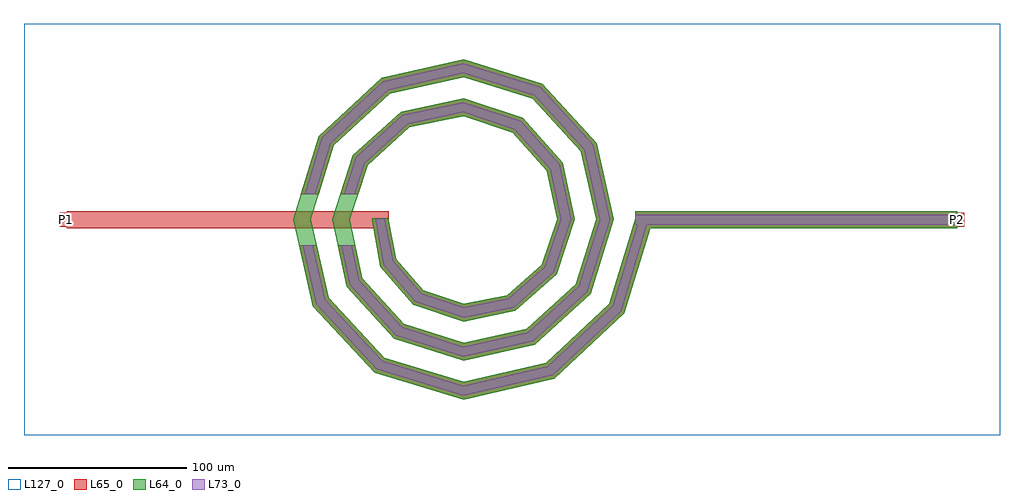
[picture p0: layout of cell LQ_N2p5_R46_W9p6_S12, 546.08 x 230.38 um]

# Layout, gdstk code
import gdstk
lib = gdstk.Library(unit=1e-6, precision=1e-09)
def R(c, l, rs):  # rectangles x0, y0, x1, y1
    for r in rs: c.add(gdstk.rectangle(r[:2], r[2:], *l))
def P(c, l, *ps):  # polygons
    for p in ps: c.add(gdstk.Polygon(p, *l))
L64_0 = (64, 0)
L65_0 = (65, 0)
L73_0 = (73, 0)
L127_0 = (127, 0)

lq_n2p5_r46_w9p6_s12 = lib.new_cell('LQ_N2p5_R46_W9p6_S12')
R(lq_n2p5_r46_w9p6_s12, L64_0, [(96.35,-4.8,276.35,4.8)])
P(lq_n2p5_r46_w9p6_s12, L64_0, [(-37.403,-21.997),(-22.315,-39.322),(0.324,-47.031),(24.697,-42.15),(44.034,-25.073),(52.492,0.293),(46.893,27.402),(27.827,48.75),(0.268,57.952),(-30.112,51.634),(-53.468,30.577),(-63.414,0.247),(-56.374,-32.825),(-33.324,-58.188),(0.228,-68.875),(35.541,-61.112),(62.909,-36.069),(74.336,0.213),(65.85,38.259),(38.813,67.632),(0.199,79.798),(-40.978,70.586),(-72.356,41.554),(-85.26,0.187),(-75.322,-43.699),(-44.295,-77.08),(0.176,-90.722),(46.421,-80.057),(81.805,-47.034),(96.559,1.399),(105.742,-1.399),(90.238,-52.295),(51.088,-88.833),(0.176,-100.655),(-49.573,-85.503),(-84.108,-48.348),(-95.192,0.187),(-80.767,46.851),(-45.607,79.383),(0.199,89.73),(44.131,76.03),(74.659,42.864),(84.267,0.213),(71.292,-41.412),(40.12,-69.935),(0.228,-78.805),(-38.695,-66.553),(-65.213,-37.373),(-73.342,0.247),(-61.812,35.98),(-34.624,60.492),(0.268,67.879),(33.268,57.069),(55.773,31.872),(62.415,0.293),(52.324,-30.559),(29.115,-51.055),(0.324,-56.951),(-27.856,-47.576),(-46.341,-26.352),(-51.242,0.908),(-41.816,0.908)])
R(lq_n2p5_r46_w9p6_s12, L65_0, [(-221.729,-4.8,-41.729,4.8), (96.35,-4.8,276.35,4.8), (-225.729,-4,-217.729,4), (272.35,-4,280.35,4)])
P(lq_n2p5_r46_w9p6_s12, L65_0, [(-75.322,-43.699),(-44.295,-77.08),(0.176,-90.722),(46.421,-80.057),(81.806,-47.034),(96.559,1.399),(105.742,-1.399),(90.238,-52.295),(51.088,-88.833),(0.176,-100.655),(-49.573,-85.503),(-84.108,-48.348),(-91.861,-14.4),(-82.014,-14.4)],
  [(-56.374,-32.825),(-33.324,-58.188),(0.229,-68.875),(35.541,-61.113),(62.91,-36.069),(74.336,0.213),(65.85,38.259),(38.813,67.632),(0.199,79.798),(-40.978,70.586),(-72.356,41.554),(-80.75,14.4),(-90.799,14.4),(-80.767,46.851),(-45.607,79.383),(0.199,89.73),(44.131,76.03),(74.659,42.864),(84.267,0.213),(71.292,-41.412),(40.12,-69.935),(0.229,-78.805),(-38.695,-66.553),(-65.213,-37.373),(-70.177,-14.4),(-60.355,-14.4)],
  [(-22.315,-39.322),(0.324,-47.031),(24.697,-42.15),(44.034,-25.073),(52.492,0.294),(46.893,27.402),(27.827,48.75),(0.268,57.952),(-30.112,51.634),(-53.468,30.577),(-58.688,14.4),(-68.775,14.4),(-61.812,35.98),(-34.624,60.492),(0.268,67.879),(33.268,57.07),(55.773,31.872),(62.415,0.294),(52.325,-30.56),(29.115,-51.055),(0.324,-56.952),(-27.856,-47.576),(-46.341,-26.353),(-51.243,0.908),(-41.816,0.908),(-37.403,-21.997)])
R(lq_n2p5_r46_w9p6_s12, L73_0, [(96.35,-2.8,276.35,2.8)])
P(lq_n2p5_r46_w9p6_s12, L73_0, [(-77.152,-44.668),(-45.394,-78.835),(0.103,-92.791),(47.393,-81.886),(83.562,-48.13),(98.472,0.816),(103.829,0.816),(88.482,-51.199),(50.116,-87.005),(0.103,-98.585),(-48.473,-83.748),(-82.277,-47.379),(-89.809,-14.4),(-84.065,-14.4)],
  [(-58.216,-33.773),(-34.443,-59.931),(0.133,-70.944),(36.495,-62.951),(64.656,-37.182),(76.405,0.124),(67.685,39.218),(39.921,69.382),(0.116,81.867),(-41.942,72.419),(-74.108,42.658),(-82.844,14.4),(-88.705,14.4),(-79.014,45.748),(-44.642,77.55),(0.116,87.661),(43.023,74.28),(72.823,41.905),(82.198,0.124),(69.546,-40.299),(39.166,-68.097),(0.133,-76.736),(-37.576,-64.81),(-63.372,-36.426),(-68.131,-14.4),(-62.402,-14.4)],
  [(-23.469,-41.042),(0.189,-49.098),(25.617,-44.005),(45.761,-26.216),(54.559,0.171),(48.743,28.333),(28.961,50.483),(0.156,60.02),(-31.052,53.48),(-55.206,31.703),(-60.789,14.4),(-66.673,14.4),(-60.074,34.854),(-33.684,58.647),(0.156,65.811),(32.134,55.336),(53.923,30.941),(60.348,0.171),(50.597,-29.417),(28.195,-49.2),(0.189,-54.885),(-26.702,-45.857),(-44.479,-25.445),(-49.279,0.53),(-43.78,0.53),(-39.265,-22.905)])
R(lq_n2p5_r46_w9p6_s12, L127_0, [(-245.729,-120.655,300.35,109.73)])
lq_n2p5_r46_w9p6_s12.add(gdstk.Label('P2', (276.35,0), layer=65, texttype=0))
lq_n2p5_r46_w9p6_s12.add(gdstk.Label('P1', (-221.729,0), layer=65, texttype=0))
lq_n2p5_r46_w9p6_s12.add(gdstk.Label('P2', (280.35,0), layer=145, texttype=0))
lq_n2p5_r46_w9p6_s12.add(gdstk.Label('P1', (-225.729,0), layer=145, texttype=0))

lib.write_gds('LQ_N2p5_R46_W9p6_S12.gds')
